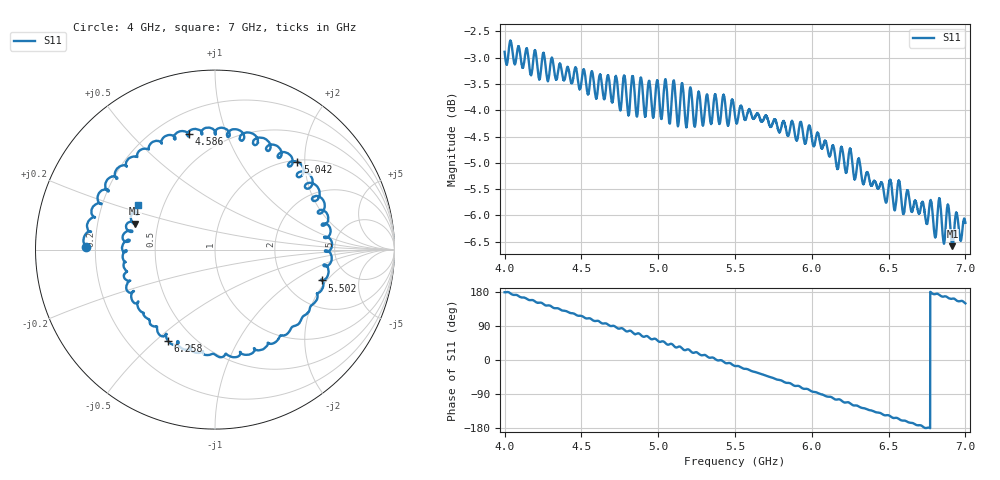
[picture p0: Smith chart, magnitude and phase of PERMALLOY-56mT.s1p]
#  HZ  S  RI  R  50.0
! Rohde & Schwarz ZVL13 2Ports - Version 3.31 - 1303.6509k13 SN: 101088
! Date: 2023-03-03 14:41:50
! Data & Calibration Information:
! Trc2:S21(TOSM)
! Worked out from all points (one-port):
!   4000 points, 4 GHz to 7 GHz, reference 50 ohm
!   lowest |S11| = -6.6 dB at 6.916 GHz (marker M1), VSWR 2.76, Z = 18.5 + j6.88 ohm
!   |S11| at or under -10 dB: nowhere
!   S11 on the Smith chart (normalised r, x): 4 GHz: 0.16, +0.01; 4.586 GHz: 0.33, +0.74; 5.042 GHz: 1.03, +1.84; 5.502 GHz: 3.19, -1.78; 6.258 GHz: 0.36, -0.55; 7 GHz: 0.36, +0.24
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4e9  -0.7169 0.0147
4.024006e9  -0.713 0.0108
4.194299e9  -0.6539 0.296
4.375094e9  -0.4442 0.519
4.51838e9  -0.2592 0.6383
4.585896e9  -0.1475 0.6435
4.674419e9  -0.0357 0.6803
4.750188e9  0.0769 0.6284
4.777194e9  0.115 0.6706
4.883721e9  0.2605 0.6238
5.042011e9  0.4591 0.4892
5.125281e9  0.5095 0.3398
5.16129e9  0.5828 0.3139
5.186047e9  0.5407 0.282
5.213803e9  0.6112 0.2488
5.31958e9  0.6444 0.1027
5.500375e9  0.599 -0.1726
5.501875e9  0.5963 -0.1718
5.645911e9  0.5205 -0.3473
5.875469e9  0.2547 -0.5589
6.03976e9  0.0306 -0.5988
6.250563e9  -0.2428 -0.5263
6.258065e9  -0.2609 -0.5096
6.461365e9  -0.4298 -0.3194
6.625656e9  -0.5077 -0.1488
6.829707e9  -0.5149 0.0712
6.915979e9  -0.4455 0.1452
7e9  -0.4249 0.2502
